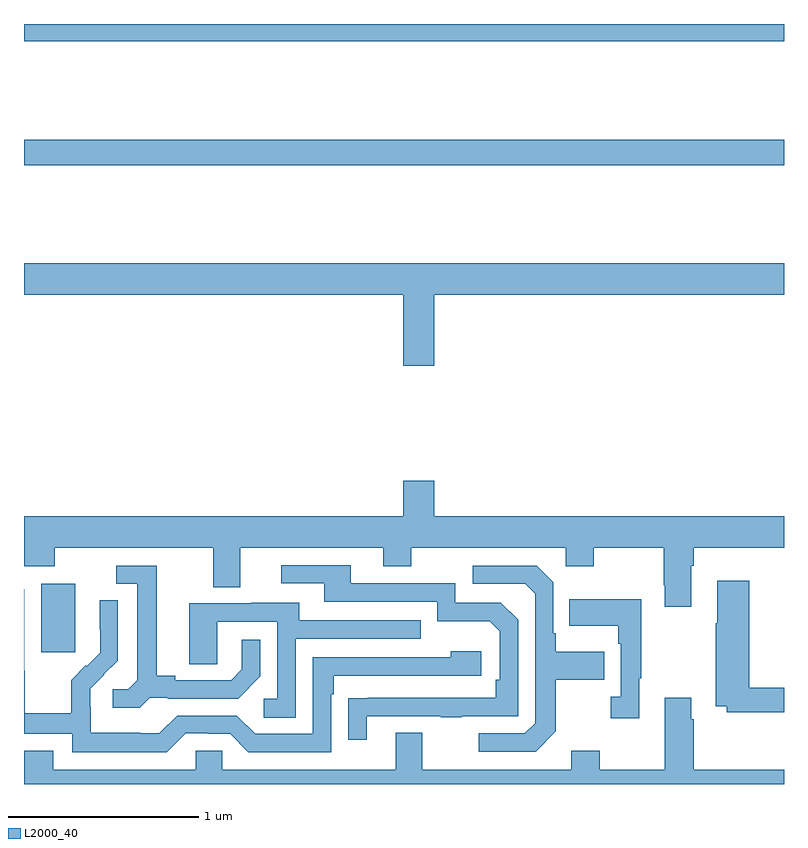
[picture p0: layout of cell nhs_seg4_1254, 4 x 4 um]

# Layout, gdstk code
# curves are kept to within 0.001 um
import gdstk
lib = gdstk.Library(unit=1e-6, precision=1e-09)
def R(c, l, rs):  # rectangles x0, y0, x1, y1
    for r in rs: c.add(gdstk.rectangle(r[:2], r[2:], *l))
def P(c, l, *ps):  # polygons
    for p in ps: c.add(gdstk.Polygon(p, *l))
L2000_40 = (2000, 40)

nhs_seg4_1254 = lib.new_cell('nhs_seg4_1254')
R(nhs_seg4_1254, L2000_40, [(175.091,805.593,175.27,805.954), (175,808.156,179,808.292), (175,808.808,179,808.9)])
P(nhs_seg4_1254, L2000_40, [(177.16,807.476),(179,807.476),(179,807.64),(175,807.64),(175,807.476),(176.996,807.476),(176.996,807.102),(177.16,807.102)],
  [(178.513,806.048),(178.526,806.048),(178.526,806.144),(179,806.144),(179,806.308),(177.16,806.308),(177.16,806.497),(176.996,806.497),(176.996,806.308),(175,806.308),(175,806.144),(175.001,806.144),(175.001,806.045),(175.161,806.045),(175.161,806.144),(175.997,806.144),(175.997,805.936),(176.137,805.936),(176.137,806.144),(176.891,806.144),(176.891,806.045),(177.039,806.045),(177.039,806.144),(177.852,806.144),(177.852,806.045),(177.999,806.045),(177.999,806.144),(178.366,806.144),(178.366,805.945),(178.373,805.945),(178.373,805.833),(178.513,805.833)],
  [(176.803,805.257),(177.193,805.257),(177.193,805.252),(177.305,805.252),(177.305,805.257),(177.6,805.257),(177.6,805.764),(177.51,805.854),(177.27,805.854),(177.27,805.956),(176.719,805.956),(176.719,806.052),(176.355,806.052),(176.355,805.956),(176.579,805.956),(176.579,805.86),(177.174,805.86),(177.174,805.757),(177.451,805.757),(177.504,805.704),(177.504,805.45),(177.484,805.45),(177.484,805.353),(176.707,805.352),(176.707,805.134),(176.803,805.134)],
  [(177.799,805.177),(177.799,805.45),(178.055,805.45),(178.055,805.597),(177.799,805.597),(177.799,805.693),(177.786,805.693),(177.786,805.962),(177.699,806.049),(177.363,806.049),(177.363,805.953),(177.639,805.953),(177.69,805.902),(177.69,805.221),(177.636,805.167),(177.393,805.167),(177.393,805.071),(177.693,805.071)],
  [(175.662,805.353),(175.756,805.353),(175.756,805.35),(176.128,805.35),(176.244,805.466),(176.244,805.66),(176.147,805.66),(176.147,805.503),(176.09,805.446),(175.795,805.446),(175.795,805.469),(175.699,805.469),(175.699,806.049),(175.485,806.049),(175.485,805.953),(175.595,805.953),(175.595,805.445),(175.548,805.398),(175.467,805.398),(175.467,805.301),(175.61,805.301)],
  [(179,805.406),(178.817,805.406),(178.817,805.969),(178.649,805.969),(178.649,805.745),(178.642,805.745),(178.642,805.31),(178.698,805.31),(178.698,805.278),(179,805.278)],
  [(175.851,805.167),(175.967,805.167),(175.967,805.164),(176.085,805.164),(176.181,805.068),(176.616,805.068),(176.616,805.373),(176.629,805.373),(176.629,805.47),(177.406,805.47),(177.406,805.6),(177.245,805.6),(177.245,805.566),(176.52,805.566),(176.52,805.164),(176.217,805.164),(176.121,805.26),(175.806,805.26),(175.713,805.167),(175.613,805.167),(175.613,805.171),(175.35,805.171),(175.35,805.305),(175.348,805.305),(175.348,805.402),(175.494,805.55),(175.494,805.868),(175.398,805.868),(175.398,805.714),(175.4,805.714),(175.4,805.592),(175.329,805.521),(175.326,805.524),(175.249,805.447),(175.249,805.273),(175.005,805.273),(175.005,805.496),(175.002,805.496),(175.002,805.926),(175,805.926),(175,805.164),(175.254,805.164),(175.254,805.067),(175.751,805.067)],
  [(178.237,805.457),(178.249,805.457),(178.249,805.873),(177.871,805.873),(177.871,805.733),(178.128,805.733),(178.128,805.637),(178.14,805.637),(178.14,805.358),(178.089,805.358),(178.089,805.245),(178.237,805.245)],
  [(176.43,805.665),(177.089,805.665),(177.089,805.761),(176.449,805.761),(176.449,805.855),(176.195,805.855),(176.195,805.851),(175.871,805.851),(175.871,805.531),(176.016,805.531),(176.016,805.755),(176.334,805.755),(176.334,805.35),(176.262,805.35),(176.262,805.249),(176.43,805.249)],
  [(179,804.976),(178.526,804.976),(178.526,805.241),(178.513,805.241),(178.513,805.354),(178.373,805.354),(178.373,804.976),(178.029,804.976),(178.029,805.075),(177.881,805.075),(177.881,804.976),(177.097,804.976),(177.097,805.171),(176.957,805.171),(176.957,804.976),(176.043,804.976),(176.043,805.074),(175.905,805.074),(175.905,804.976),(175.153,804.976),(175.153,805.075),(175.001,805.075),(175.001,804.976),(175,804.976),(175,804.9),(179,804.9)])

lib.write_gds('nhs_seg4_1254.gds')
